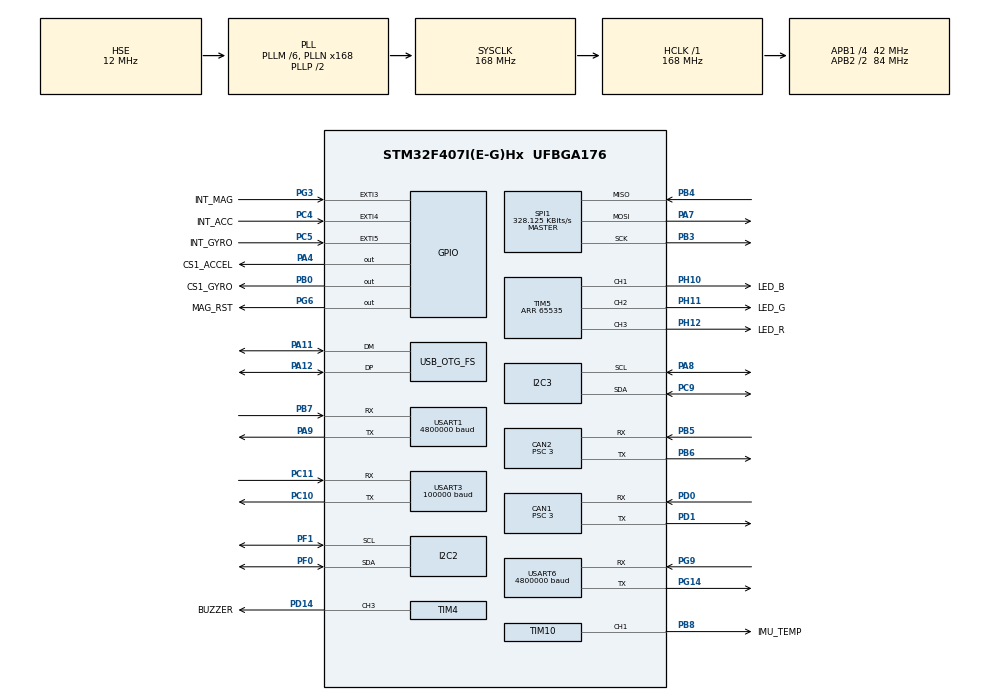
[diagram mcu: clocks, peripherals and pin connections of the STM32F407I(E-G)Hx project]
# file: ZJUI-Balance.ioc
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CAN1.BS1=CAN_BS1_10TQ
CAN1.BS2=CAN_BS2_3TQ
CAN1.CalculateBaudRate=1000000
CAN1.CalculateTimeBit=1000
CAN1.CalculateTimeQuantum=71.42857142857143
CAN1.Prescaler=3
CAN1.TXFP=ENABLE
CAN2.BS1=CAN_BS1_10TQ
CAN2.BS2=CAN_BS2_3TQ
CAN2.CalculateBaudRate=1000000
CAN2.CalculateTimeBit=1000
CAN2.CalculateTimeQuantum=71.42857142857143
CAN2.Prescaler=3
CAN2.TXFP=ENABLE
Dma.Request0=SPI1_RX
Dma.Request1=SPI1_TX
Dma.Request2=USART3_RX
Dma.Request3=USART1_TX
Dma.Request4=USART1_RX
Dma.Request5=USART6_RX
Dma.Request6=USART6_TX
Dma.SPI1_RX.0.Direction=DMA_PERIPH_TO_MEMORY
Dma.SPI1_RX.0.FIFOMode=DMA_FIFOMODE_DISABLE
Dma.SPI1_RX.0.Instance=DMA2_Stream2
Dma.SPI1_RX.0.MemDataAlignment=DMA_MDATAALIGN_BYTE
Dma.SPI1_RX.0.MemInc=DMA_MINC_ENABLE
Dma.SPI1_RX.0.Mode=DMA_NORMAL
Dma.SPI1_RX.0.PeriphDataAlignment=DMA_PDATAALIGN_BYTE
Dma.SPI1_RX.0.PeriphInc=DMA_PINC_DISABLE
Dma.SPI1_RX.0.Priority=DMA_PRIORITY_VERY_HIGH
Dma.SPI1_TX.1.Direction=DMA_MEMORY_TO_PERIPH
Dma.SPI1_TX.1.FIFOMode=DMA_FIFOMODE_DISABLE
Dma.SPI1_TX.1.Instance=DMA2_Stream3
Dma.SPI1_TX.1.MemDataAlignment=DMA_MDATAALIGN_BYTE
Dma.SPI1_TX.1.MemInc=DMA_MINC_ENABLE
Dma.SPI1_TX.1.Mode=DMA_NORMAL
Dma.SPI1_TX.1.PeriphDataAlignment=DMA_PDATAALIGN_BYTE
Dma.SPI1_TX.1.PeriphInc=DMA_PINC_DISABLE
Dma.SPI1_TX.1.Priority=DMA_PRIORITY_HIGH
Dma.USART1_RX.4.Direction=DMA_PERIPH_TO_MEMORY
Dma.USART1_RX.4.FIFOMode=DMA_FIFOMODE_DISABLE
Dma.USART1_RX.4.Instance=DMA2_Stream5
Dma.USART1_RX.4.MemDataAlignment=DMA_MDATAALIGN_BYTE
Dma.USART1_RX.4.MemInc=DMA_MINC_ENABLE
Dma.USART1_RX.4.Mode=DMA_NORMAL
Dma.USART1_RX.4.PeriphDataAlignment=DMA_PDATAALIGN_BYTE
Dma.USART1_RX.4.PeriphInc=DMA_PINC_DISABLE
Dma.USART1_RX.4.Priority=DMA_PRIORITY_LOW
Dma.USART1_TX.3.Direction=DMA_MEMORY_TO_PERIPH
Dma.USART1_TX.3.FIFOMode=DMA_FIFOMODE_DISABLE
Dma.USART1_TX.3.Instance=DMA2_Stream7
Dma.USART1_TX.3.MemDataAlignment=DMA_MDATAALIGN_BYTE
Dma.USART1_TX.3.MemInc=DMA_MINC_ENABLE
Dma.USART1_TX.3.Mode=DMA_NORMAL
Dma.USART1_TX.3.PeriphDataAlignment=DMA_PDATAALIGN_BYTE
Dma.USART1_TX.3.PeriphInc=DMA_PINC_DISABLE
Dma.USART1_TX.3.Priority=DMA_PRIORITY_LOW
Dma.USART3_RX.2.Direction=DMA_PERIPH_TO_MEMORY
Dma.USART3_RX.2.FIFOMode=DMA_FIFOMODE_DISABLE
Dma.USART3_RX.2.Instance=DMA1_Stream1
Dma.USART3_RX.2.MemDataAlignment=DMA_MDATAALIGN_BYTE
Dma.USART3_RX.2.MemInc=DMA_MINC_ENABLE
Dma.USART3_RX.2.Mode=DMA_NORMAL
Dma.USART3_RX.2.PeriphDataAlignment=DMA_PDATAALIGN_BYTE
Dma.USART3_RX.2.PeriphInc=DMA_PINC_DISABLE
Dma.USART3_RX.2.Priority=DMA_PRIORITY_LOW
Dma.USART6_RX.5.Direction=DMA_PERIPH_TO_MEMORY
Dma.USART6_RX.5.FIFOMode=DMA_FIFOMODE_DISABLE
Dma.USART6_RX.5.Instance=DMA2_Stream1
Dma.USART6_RX.5.MemDataAlignment=DMA_MDATAALIGN_BYTE
Dma.USART6_RX.5.MemInc=DMA_MINC_ENABLE
Dma.USART6_RX.5.Mode=DMA_NORMAL
Dma.USART6_RX.5.PeriphDataAlignment=DMA_PDATAALIGN_BYTE
Dma.USART6_RX.5.PeriphInc=DMA_PINC_DISABLE
Dma.USART6_RX.5.Priority=DMA_PRIORITY_LOW
Dma.USART6_TX.6.Direction=DMA_MEMORY_TO_PERIPH
Dma.USART6_TX.6.FIFOMode=DMA_FIFOMODE_DISABLE
Dma.USART6_TX.6.Instance=DMA2_Stream6
Dma.USART6_TX.6.MemDataAlignment=DMA_MDATAALIGN_BYTE
Dma.USART6_TX.6.MemInc=DMA_MINC_ENABLE
Dma.USART6_TX.6.Mode=DMA_NORMAL
Dma.USART6_TX.6.PeriphDataAlignment=DMA_PDATAALIGN_BYTE
Dma.USART6_TX.6.PeriphInc=DMA_PINC_DISABLE
Dma.USART6_TX.6.Priority=DMA_PRIORITY_LOW
FREERTOS.Tasks01=defaultTask,0,128,StartDefaultTask,Default,NULL,Dynamic,NULL,NULL
I2C2.I2C_Mode=I2C_Fast
I2C3.I2C_Mode=I2C_Fast
Mcu.Family=STM32F4
Mcu.Name=STM32F407I(E-G)Hx
Mcu.Package=UFBGA176
NVIC.CAN1_RX0_IRQn=true\:5\:0\:false\:false\:true\:true\:true\:true\:true
NVIC.CAN1_RX1_IRQn=true\:5\:0\:false\:false\:true\:true\:true\:true\:true
NVIC.CAN2_RX0_IRQn=true\:5\:0\:false\:false\:true\:true\:true\:true\:true
NVIC.CAN2_RX1_IRQn=true\:5\:0\:false\:false\:true\:true\:true\:true\:true
NVIC.DMA1_Stream1_IRQn=true\:5\:0\:false\:false\:true\:true\:false\:true\:true
NVIC.DMA2_Stream1_IRQn=true\:5\:0\:false\:false\:true\:true\:false\:true\:true
NVIC.DMA2_Stream2_IRQn=true\:5\:0\:false\:false\:true\:true\:false\:true\:true
NVIC.DMA2_Stream3_IRQn=true\:5\:0\:false\:false\:true\:true\:false\:true\:true
NVIC.DMA2_Stream5_IRQn=true\:5\:0\:false\:false\:true\:true\:false\:true\:true
NVIC.DMA2_Stream6_IRQn=true\:5\:0\:false\:false\:true\:true\:false\:true\:true
NVIC.DMA2_Stream7_IRQn=true\:5\:0\:false\:false\:true\:true\:false\:true\:true
NVIC.EXTI3_IRQn=true\:5\:0\:false\:false\:true\:true\:true\:true\:true
NVIC.EXTI4_IRQn=true\:5\:0\:false\:false\:true\:false\:true\:true\:true
NVIC.OTG_FS_IRQn=true\:5\:0\:false\:false\:true\:true\:true\:true\:true
NVIC.PriorityGroup=NVIC_PRIORITYGROUP_4
NVIC.SPI1_IRQn=true\:5\:0\:false\:false\:true\:true\:true\:true\:true
NVIC.USART1_IRQn=true\:5\:0\:false\:false\:true\:true\:true\:true\:true
NVIC.USART3_IRQn=true\:5\:0\:false\:false\:true\:true\:true\:true\:true
NVIC.USART6_IRQn=true\:5\:0\:false\:false\:true\:true\:true\:true\:true
PA11.Mode=Device_Only
PA11.Signal=USB_OTG_FS_DM
PA12.Mode=Device_Only
PA12.Signal=USB_OTG_FS_DP
PA13.Mode=Serial_Wire
PA13.Signal=SYS_JTMS-SWDIO
PA14.Mode=Serial_Wire
PA14.Signal=SYS_JTCK-SWCLK
PA4.GPIO_Label=CS1_ACCEL
PA4.GPIO_PuPd=GPIO_PULLUP
PA4.GPIO_Speed=GPIO_SPEED_FREQ_HIGH
PA4.Signal=GPIO_Output
PA7.GPIO_PuPd=GPIO_PULLUP
PA7.Mode=Full_Duplex_Master
PA7.Signal=SPI1_MOSI
PA8.Mode=I2C
PA8.Signal=I2C3_SCL
PA9.Mode=Asynchronous
PA9.Signal=USART1_TX
PB0.GPIO_Label=CS1_GYRO
PB0.GPIO_PuPd=GPIO_PULLUP
PB0.GPIO_Speed=GPIO_SPEED_FREQ_HIGH
PB0.Signal=GPIO_Output
PB3.GPIO_PuPd=GPIO_PULLUP
PB3.Mode=Full_Duplex_Master
PB3.Signal=SPI1_SCK
PB4.GPIO_PuPd=GPIO_PULLUP
PB4.Mode=Full_Duplex_Master
PB4.Signal=SPI1_MISO
PB5.Mode=CAN_Activate
PB5.Signal=CAN2_RX
PB6.Mode=CAN_Activate
PB6.Signal=CAN2_TX
PB7.Mode=Asynchronous
PB7.Signal=USART1_RX
PB8.GPIO_Label=IMU_TEMP
PB8.GPIO_Speed=GPIO_SPEED_FREQ_HIGH
PB8.Signal=S_TIM10_CH1
PC10.Mode=Asynchronous
PC10.Signal=USART3_TX
PC11.Mode=Asynchronous
PC11.Signal=USART3_RX
PC4.GPIO_Label=INT_ACC
PC4.Signal=GPXTI4
PC5.GPIO_Label=INT_GYRO
PC5.Signal=GPXTI5
PC9.Mode=I2C
PC9.Signal=I2C3_SDA
PD0.Mode=CAN_Activate
PD0.Signal=CAN1_RX
PD1.Mode=CAN_Activate
PD1.Signal=CAN1_TX
PD14.GPIO_Label=BUZZER
PD14.GPIO_Speed=GPIO_SPEED_FREQ_VERY_HIGH
PD14.Signal=S_TIM4_CH3
PF0.Mode=I2C
PF0.Signal=I2C2_SDA
PF1.Mode=I2C
PF1.Signal=I2C2_SCL
PG14.Mode=Asynchronous
PG14.Signal=USART6_TX
PG3.GPIO_Label=INT_MAG
PG3.GPIO_PuPd=GPIO_PULLUP
PG3.Signal=GPXTI3
PG6.GPIO_Label=MAG_RST
PG6.GPIO_PuPd=GPIO_PULLUP
PG6.GPIO_Speed=GPIO_SPEED_FREQ_LOW
PG6.Signal=GPIO_Output
PG9.Mode=Asynchronous
PG9.Signal=USART6_RX
PH0-OSC_IN.Mode=HSE-External-Oscillator
PH0-OSC_IN.Signal=RCC_OSC_IN
PH1-OSC_OUT.Mode=HSE-External-Oscillator
PH1-OSC_OUT.Signal=RCC_OSC_OUT
PH10.GPIO_Label=LED_B
PH10.GPIO_Speed=GPIO_SPEED_FREQ_HIGH
PH10.Signal=S_TIM5_CH1
PH11.GPIO_Label=LED_G
PH11.GPIO_Speed=GPIO_SPEED_FREQ_HIGH
PH11.Signal=S_TIM5_CH2
PH12.GPIO_Label=LED_R
PH12.GPIO_Speed=GPIO_SPEED_FREQ_HIGH
PH12.Signal=S_TIM5_CH3
ProjectManager.HeapSize=0x1000
ProjectManager.StackSize=0x400
ProjectManager.TargetToolchain=Makefile
RCC.48MHZClocksFreq_Value=48000000
RCC.AHBFreq_Value=168000000
RCC.APB1CLKDivider=RCC_HCLK_DIV4
RCC.APB1Freq_Value=42000000
RCC.APB1TimFreq_Value=84000000
RCC.APB2CLKDivider=RCC_HCLK_DIV2
RCC.APB2Freq_Value=84000000
RCC.APB2TimFreq_Value=168000000
RCC.CortexFreq_Value=168000000
RCC.HCLKFreq_Value=168000000
RCC.HSE_VALUE=12000000
RCC.HSI_VALUE=16000000
RCC.LSE_VALUE=32768
RCC.PLLM=6
RCC.PLLN=168
RCC.PLLQ=7
RCC.SYSCLKFreq_VALUE=168000000
RCC.SYSCLKSource=RCC_SYSCLKSOURCE_PLLCLK
RCC.VCOOutputFreq_Value=336000000
SH.S_TIM10_CH1.0=TIM10_CH1,PWM Generation1 CH1
SH.S_TIM4_CH3.0=TIM4_CH3,PWM Generation3 CH3
SH.S_TIM5_CH1.0=TIM5_CH1,PWM Generation1 CH1
SH.S_TIM5_CH2.0=TIM5_CH2,PWM Generation2 CH2
SH.S_TIM5_CH3.0=TIM5_CH3,PWM Generation3 CH3
SPI1.BaudRatePrescaler=SPI_BAUDRATEPRESCALER_256
SPI1.CLKPhase=SPI_PHASE_2EDGE
SPI1.CLKPolarity=SPI_POLARITY_HIGH
SPI1.CalculateBaudRate=328.125 KBits/s
SPI1.Direction=SPI_DIRECTION_2LINES
SPI1.Mode=SPI_MODE_MASTER
SPI1.VirtualType=VM_MASTER
STMicroelectronics.X-CUBE-ALGOBUILD.1.3.0.LibraryCcDSPOoLibraryJjDSPOoLibrary=true
TIM10.Channel=TIM_CHANNEL_1
TIM10.Period=5000-1
TIM10.Prescaler=167
TIM4.AutoReloadPreload=TIM_AUTORELOAD_PRELOAD_ENABLE
TIM4.Channel-PWM\ Generation3\ CH3=TIM_CHANNEL_3
TIM4.Period=21000
TIM4.Prescaler=0
TIM4.Pulse-PWM\ Generation3\ CH3=10500
TIM5.Channel-PWM\ Generation1\ CH1=TIM_CHANNEL_1
TIM5.Channel-PWM\ Generation2\ CH2=TIM_CHANNEL_2
TIM5.Channel-PWM\ Generation3\ CH3=TIM_CHANNEL_3
TIM5.Period=65535
USART1.BaudRate=4800000
USART1.VirtualMode=VM_ASYNC
USART3.BaudRate=100000
USART3.Parity=PARITY_EVEN
USART3.VirtualMode=VM_ASYNC
USART3.WordLength=WORDLENGTH_9B
USART6.BaudRate=4800000
USART6.VirtualMode=VM_ASYNC
USB_DEVICE.CLASS_NAME_FS=CDC
USB_DEVICE.PID_CDC_FS=202
USB_DEVICE.PRODUCT_STRING_CDC_FS=Vision Comm port
USB_DEVICE.VirtualMode-CDC_FS=Cdc
USB_DEVICE.VirtualModeFS=Cdc_FS
USB_OTG_FS.VirtualMode=Device_Only
VP_FREERTOS_VS_CMSIS_V1.Mode=CMSIS_V1
VP_STMicroelectronics.X-CUBE-ALGOBUILD_VS_DSPOoLibraryJjLibrary_1.3.0_1.3.0.Mode=DSPOoLibraryJjLibrary
VP_TIM10_VS_ClockSourceINT.Mode=Enable_Timer
VP_USB_DEVICE_VS_USB_DEVICE_CDC_FS.Mode=CDC_FS
board=custom

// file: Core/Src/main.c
/* USER CODE BEGIN Header */
/**
  ******************************************************************************
  * @file           : main.c
  * @brief          : Main program body
  ******************************************************************************
  * @attention
  *
  * Copyright (c) 2024 STMicroelectronics.
  * All rights reserved.
  *
  * This software is licensed under terms that can be found in the LICENSE file
  * in the root directory of this software component.
  * If no LICENSE file comes with this software, it is provided AS-IS.
  *
  ******************************************************************************
  */
/* USER CODE END Header */
#include "main.h"
#include "cmsis_os.h"
#include "can.h"
#include "dma.h"
#include "i2c.h"
#include "spi.h"
#include "tim.h"
#include "usart.h"
#include "usb_device.h"
#include "gpio.h"

/* USER CODE BEGIN Includes */
#include "bsp_init.h"
#include "bsp_buzzer.h"
#include "OLED.h"
#include "ins_task.h"
#include "Callback.h"
#include "can_test.h"
#include "MI_motor_drive.h"
#include "rc.h"
#include "OLED_BMP.h"

/* USER CODE END Includes */

/* USER CODE BEGIN PV */
INS_t *INS_DATA;

/* USER CODE END PV */

void SystemClock_Config(void);
void MX_FREERTOS_Init(void);

int main(void)
{

  /* MCU Configuration--------------------------------------------------------*/

  /* Reset of all peripherals, Initializes the Flash interface and the Systick. */
  HAL_Init();

  /* Configure the system clock */
  SystemClock_Config();

  /* Initialize all configured peripherals */
  MX_GPIO_Init();
  MX_DMA_Init();
  MX_I2C2_Init();
  MX_SPI1_Init();
  MX_I2C3_Init();
  MX_TIM10_Init();
  MX_USART3_UART_Init();
  MX_CAN1_Init();
  MX_CAN2_Init();
  MX_TIM4_Init();
  MX_TIM5_Init();
  MX_USART1_UART_Init();
  MX_USART6_UART_Init();
  /* USER CODE BEGIN 2 */

  // 关闭中断,防止在初始化过程中发生中断
  // 请不要在初始化过程中使用中断和延时函数！
  // 若必须,则只允许使用DWT_Delay()
  Buzzer_beep();

  __disable_irq();
  BSPInit();
  OLED_init();
  OLED_clear();
  OLED_show_string(0,0,"Initiating...");
  OLED_refresh_gram();
  Dbus_Init();
  CAN_Init(&hcan1);
  CAN_Filter_Mask_Config(&hcan1, CAN_FILTER(0) | CAN_FIFO_0 | CAN_EXTID | CAN_DATA_TYPE, 0, 0);
  INS_DATA = INS_Init(); // 初始化IMU 测试 不知道为什么要初始化非常久 将近30秒
  OLED_showBMP_gram(BMP_GENSHIN_GRAM);

  stand_task_init();
  __enable_irq();

  /* USER CODE END 2 */

  /* Call init function for freertos objects (in freertos.c) */
  MX_FREERTOS_Init();

  /* Start scheduler */
  osKernelStart();

  /* We should never get here as control is now taken by the scheduler */
  /* Infinite loop */
  while (1)
  {

  }
}

void SystemClock_Config(void)
{
  RCC_OscInitTypeDef RCC_OscInitStruct = {0};
  RCC_ClkInitTypeDef RCC_ClkInitStruct = {0};

  /** Configure the main internal regulator output voltage
  */
  __HAL_RCC_PWR_CLK_ENABLE();
  __HAL_PWR_VOLTAGESCALING_CONFIG(PWR_REGULATOR_VOLTAGE_SCALE1);

  /** Initializes the RCC Oscillators according to the specified parameters
  * in the RCC_OscInitTypeDef structure.
  */
  RCC_OscInitStruct.OscillatorType = RCC_OSCILLATORTYPE_HSE;
  RCC_OscInitStruct.HSEState = RCC_HSE_ON;
  RCC_OscInitStruct.PLL.PLLState = RCC_PLL_ON;
  RCC_OscInitStruct.PLL.PLLSource = RCC_PLLSOURCE_HSE;
  RCC_OscInitStruct.PLL.PLLM = 6;
  RCC_OscInitStruct.PLL.PLLN = 168;
  RCC_OscInitStruct.PLL.PLLP = RCC_PLLP_DIV2;
  RCC_OscInitStruct.PLL.PLLQ = 7;
  if (HAL_RCC_OscConfig(&RCC_OscInitStruct) != HAL_OK)
  {
    Error_Handler();
  }

  /** Initializes the CPU, AHB and APB buses clocks
  */
  RCC_ClkInitStruct.ClockType = RCC_CLOCKTYPE_HCLK|RCC_CLOCKTYPE_SYSCLK
                              |RCC_CLOCKTYPE_PCLK1|RCC_CLOCKTYPE_PCLK2;
  RCC_ClkInitStruct.SYSCLKSource = RCC_SYSCLKSOURCE_PLLCLK;
  RCC_ClkInitStruct.AHBCLKDivider = RCC_SYSCLK_DIV1;
  RCC_ClkInitStruct.APB1CLKDivider = RCC_HCLK_DIV4;
  RCC_ClkInitStruct.APB2CLKDivider = RCC_HCLK_DIV2;

  if (HAL_RCC_ClockConfig(&RCC_ClkInitStruct, FLASH_LATENCY_5) != HAL_OK)
  {
    Error_Handler();
  }
}

void Error_Handler(void)
{
  __disable_irq();
  while (1)
  {
  }
}

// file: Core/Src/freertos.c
/* USER CODE BEGIN Header */
/**
  ******************************************************************************
  * File Name          : freertos.c
  * Description        : Code for freertos applications
  ******************************************************************************
  * @attention
  *
  * Copyright (c) 2024 STMicroelectronics.
  * All rights reserved.
  *
  * This software is licensed under terms that can be found in the LICENSE file
  * in the root directory of this software component.
  * If no LICENSE file comes with this software, it is provided AS-IS.
  *
  ******************************************************************************
  */
/* USER CODE END Header */

#include "FreeRTOS.h"
#include "task.h"
#include "main.h"
#include "cmsis_os.h"

/* USER CODE BEGIN Includes */
#include "can.h"
#include "OLED.h"
#include "Debug_Tool.h"
#include "ins_task.h"
#include "ZJUI_balance.h"
#include "bsp_dwt.h"
#include "usbd_cdc_if.h"
#include "rc.h"
#include "bsp_buzzer.h"
#include "MI_motor_drive.h"
#include "A1_motor_drive.h"
#include "joint.h"
#include "wheel.h"
#include "Balance.h"
#include "pid.h"

/* USER CODE END Includes */

/* USER CODE BEGIN PM */
extern LinkNPodParam l_side, r_side;
extern ChassisParam chassis;

extern MI_Motor_s MI_Motor_ID1;               // 定义小米电机结构体1
extern MI_Motor_s MI_Motor_ID2;               // 定义小米电机结构体2

extern RC_Type rc;        // 遥控器数据

extern INS_t *INS_DATA;
extern pid_type_def PID_Balance;
extern pid_type_def PID_VEL_UP;
extern float Vel_print;

/* USER CODE END PM */

/* USER CODE BEGIN Variables */
osThreadId insTaskHandle;   // 手动添加
osThreadId robotTaskHandle; // 手动添加
osThreadId Motor_A1Handle;  // 手动添加

/* USER CODE END Variables */
osThreadId defaultTaskHandle;

/* USER CODE BEGIN FunctionPrototypes */
void StartINSTASK(void const *argument);   // 手动添加
void StartROBOTTASK(void const *argument); // 手动添加
void Motor_A1_task(void const * argument); // 手动添加

/* USER CODE END FunctionPrototypes */

void StartDefaultTask(void const * argument);

extern void MX_USB_DEVICE_Init(void);
void MX_FREERTOS_Init(void); /* (MISRA C 2004 rule 8.1) */

/* GetIdleTaskMemory prototype (linked to static allocation support) */
void vApplicationGetIdleTaskMemory( StaticTask_t **ppxIdleTaskTCBBuffer, StackType_t **ppxIdleTaskStackBuffer, uint32_t *pulIdleTaskStackSize );

/* USER CODE BEGIN GET_IDLE_TASK_MEMORY */
static StaticTask_t xIdleTaskTCBBuffer;
static StackType_t xIdleStack[configMINIMAL_STACK_SIZE];

void vApplicationGetIdleTaskMemory( StaticTask_t **ppxIdleTaskTCBBuffer, StackType_t **ppxIdleTaskStackBuffer, uint32_t *pulIdleTaskStackSize )
{
  *ppxIdleTaskTCBBuffer = &xIdleTaskTCBBuffer;
  *ppxIdleTaskStackBuffer = &xIdleStack[0];
  *pulIdleTaskStackSize = configMINIMAL_STACK_SIZE;
  /* place for user code */
}
/* USER CODE END GET_IDLE_TASK_MEMORY */

void MX_FREERTOS_Init(void) {

  /* Create the thread(s) */
  /* definition and creation of defaultTask */
  osThreadDef(defaultTask, StartDefaultTask, osPriorityNormal, 0, 512); // 原先为 128
  defaultTaskHandle = osThreadCreate(osThread(defaultTask), NULL);

  /* USER CODE BEGIN RTOS_THREADS */
  /* add threads, ... */
  osThreadDef(instask, StartINSTASK, osPriorityNormal, 0, 1024); // 手动添加
  insTaskHandle = osThreadCreate(osThread(instask), NULL);

  osThreadDef(robottask, StartROBOTTASK, osPriorityAboveNormal, 0, 2048); // 手动添加
  robotTaskHandle = osThreadCreate(osThread(robottask), NULL);

  osThreadDef(Motor_A1, Motor_A1_task, osPriorityIdle, 0, 128);
  Motor_A1Handle = osThreadCreate(osThread(Motor_A1), NULL);
  /* USER CODE END RTOS_THREADS */

}

void StartDefaultTask(void const * argument)
{
  /* init code for USB_DEVICE */
  MX_USB_DEVICE_Init();
  /* USER CODE BEGIN StartDefaultTask */

  /* Infinite loop */
  for(;;)
  {
    // USB_printf("Velocity.Dist.motionN:%d,%d,%d,%d,%d,%d,%d,%d,%d\n",(int)(INS_DATA->Yaw),(int)(INS_DATA->Pitch),(int)(INS_DATA->Roll),
    //                                     (int)(INS_DATA->MotionAccel_b[0]*100),(int)(INS_DATA->MotionAccel_b[1]*100),(int)(INS_DATA->MotionAccel_b[2]*100),
    //                                     (int)(INS_DATA->Vel[0]*100),(int)(INS_DATA->Vel[1]*100),(int)(INS_DATA->Vel[2]*100));
    // USB_printf("Velocity.Dist.motionN:%d,%d\n",(int)(chassis.dist*100),(int)(chassis.vel_m*100));

    // 湖南大学 Pitch Roll 需要互换
    USB_printf("Yaw.Roll.Pitch:%d,%d,%d,%d,%d\n",(int)(INS_DATA->Roll*10),(int)(Vel_print*10*10),(int)(rc.RY*4*10*10),
                                              (int)(PID_VEL_UP.out*100)),(int)(PID_Balance.out*100);
    osDelay(10);
  }
  /* USER CODE END StartDefaultTask */
}

/* USER CODE BEGIN Application */
void StartINSTASK(void const *argument)
{
  while (1)
  {
    // 1kHz
    INS_Task();
    osDelay(1);
  }
}

void Motor_A1_task(void const * argument)
{
  /* USER CODE BEGIN Motor_A1_task */
  osDelay(100);
  Joint_Zero_init_Type2(); // 限位原点
  osDelay(10);
  Joint_Speed_Control(0.0f,0.0f);
  /* Infinite loop */
  for(;;)
  {
    if (rc.sw1 == SW_UP) // 急停
    {
      Joint_Position_Control(0.0f,0.0f);
    }

    else if (rc.sw1 == SW_MID) // 位置模式 (现在的位置模式为减速后的转子角度-角度制)
    {
      Joint_Full_Position_Control(rc.LY*60.0f - rc.LX*20.0f,
                                  rc.LY*60.0f + rc.LX*20.0f,
                                  rc.LY*60.0f - rc.LX*20.0f,
                                  rc.LY*60.0f + rc.LX*20.0f);
    }
  }
  /* USER CODE END Motor_A1_task */
}

void StartROBOTTASK(void const *argument)
{
  // static float robot_dt, robot_start;
  MI_motor_Init(&MI_Motor_ID1,&MI_CAN_1,1); // 将MI_CAN_1，ID=1传入小米结构体
  MI_motor_Init(&MI_Motor_ID2,&MI_CAN_1,2); // 将MI_CAN_1，ID=2传入小米结构体
  MI_motor_Enable(&MI_Motor_ID1);           // 通过发送小米结构体 data=00000000 电机使能
  MI_motor_Enable(&MI_Motor_ID2);           // 通过发送小米结构体 data=00000000 电机使能
  osDelay(100);
  for(;;)
  {
    // robot_start = DWT_GetTimeline_ms();
    // BalanceTask();
    // robot_dt = DWT_GetTimeline_ms() - robot_start;
    // osDelay(1);
    if (rc.sw2 == SW_UP)   //倒地-遥控模式
    {
      Wheel_Speed_Control(rc.RY*20 + rc.RX*20, rc.RY*20 - rc.RX*20);
      osDelay(2);
    }
    if (rc.sw2 == SW_MID)  //平衡-遥控模式
    {
      stand_task_start(INS_DATA, rc.RY, rc.RX);
      osDelay(2);
    }
    if (rc.sw2 == SW_DOWN) //平衡-跟踪模式
    {
      stand_task_start(INS_DATA, rc.RY, rc.RX);
      osDelay(2);
    }
  }
}
/* USER CODE END Application */
